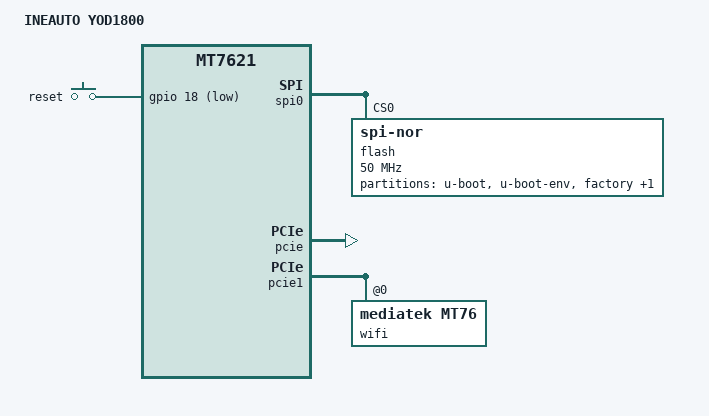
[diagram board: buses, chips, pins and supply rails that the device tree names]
// SPDX-License-Identifier: GPL-2.0-or-later OR MIT

#include "mt7621.dtsi"

#include <dt-bindings/gpio/gpio.h>
#include <dt-bindings/input/input.h>

/ {
	compatible = "ineauto,yod1800", "mediatek,mt7621-soc";
	model = "INEAUTO YOD1800";

	aliases {
		label-mac-device = &gmac0;
	};

	chosen {
		stdout-path = "serial0:115200n8";
		bootargs = "console=ttyS0,115200n8";
	};

	keys {
		compatible = "gpio-keys";

		reset {
			label = "reset";
			gpios = <&gpio 18 GPIO_ACTIVE_LOW>;
			debounce-interval = <60>;
			linux,code = <KEY_RESTART>;
		};
	};
};

&spi0 {
	status = "okay";

	flash@0 {
		compatible = "jedec,spi-nor";
		reg = <0>;
		spi-max-frequency = <50000000>;
		m25p,fast-read;

		partitions {
			compatible = "fixed-partitions";
			#address-cells = <1>;
			#size-cells = <1>;

			partition@0 {
				label = "u-boot";
				reg = <0x0 0x30000>;
				read-only;
			};

			partition@30000 {
				label = "u-boot-env";
				reg = <0x30000 0x10000>;
				read-only;
			};

			partition@50000 {
				label = "factory";
				reg = <0x50000 0x40000>;
				read-only;

				nvmem-layout {
					compatible = "fixed-layout";
					#address-cells = <1>;
					#size-cells = <1>;

					eeprom_factory_0: eeprom@0 {
						reg = <0x0 0xe00>;
					};

					macaddr_factory_4: macaddr@4 {
						compatible = "mac-base";
						reg = <0x4 0x6>;
						#nvmem-cell-cells = <1>;
					};
				};
			};

			partition@90000 {
				compatible = "denx,uimage";
				label = "firmware";
				reg = <0x90000 0xf70000>;
			};
		};
	};
};

&pcie {
	status = "okay";
};

&pcie1 {
	wifi@0,0 {
		compatible = "mediatek,mt76";
		reg = <0x0000 0 0 0 0>;
		nvmem-cells = <&eeprom_factory_0>;
		nvmem-cell-names = "eeprom";
		mediatek,disable-radar-background;

		#address-cells = <1>;
		#size-cells = <0>;

		band@0 {
			reg = <0>;
			nvmem-cells = <&macaddr_factory_4 0>;
			nvmem-cell-names = "mac-address";
		};

		band@1 {
			reg = <1>;
			nvmem-cells = <&macaddr_factory_4 1>;
			nvmem-cell-names = "mac-address";
		};
	};
};

&gmac0 {
	nvmem-cells = <&macaddr_factory_4 2>;
	nvmem-cell-names = "mac-address";
};

&switch0 {
	ports {
		port@0 {
			status = "disabled";
		};

		port@1 {
			status = "okay";
			label = "wan";
			nvmem-cells = <&macaddr_factory_4 3>;
			nvmem-cell-names = "mac-address";
		};

		port@2 {
			status = "okay";
			label = "lan1";
		};
	};
};

&state_default {
	gpio {
		groups = "i2c", "wdt", "jtag", "uart2", "uart3";
		function = "gpio";
	};
};
